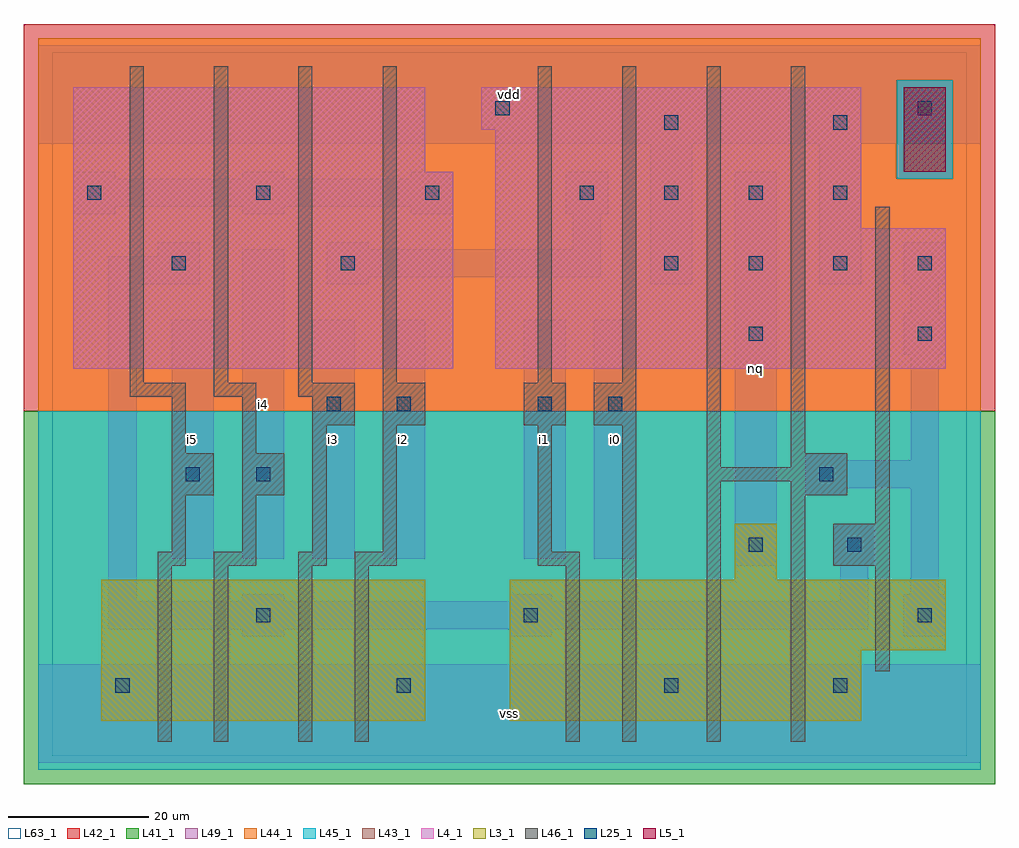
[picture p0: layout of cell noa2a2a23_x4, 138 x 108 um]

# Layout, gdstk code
import gdstk
lib = gdstk.Library(unit=1e-6, precision=1e-09)
def R(c, l, rs):  # rectangles x0, y0, x1, y1
    for r in rs: c.add(gdstk.rectangle(r[:2], r[2:], *l))
def A(c, l, x, y, w, h, nx, ny, dx, dy):  # array of equal rectangles
    R(c, l, [(x+i*dx, y+j*dy, x+i*dx+w, y+j*dy+h) for i in range(nx) for j in range(ny)])
L3_1 = (3, 1)
L4_1 = (4, 1)
L5_1 = (5, 1)
L25_1 = (25, 1)
L41_1 = (41, 1)
L42_1 = (42, 1)
L43_1 = (43, 1)
L44_1 = (44, 1)
L45_1 = (45, 1)
L46_1 = (46, 1)
L49_1 = (49, 1)
L63_1 = (63, 1)

noa2a2a23_x4 = lib.new_cell('noa2a2a23_x4')
R(noa2a2a23_x4, L3_1, [(7,5,53,25), (65,5,115,15), (65,15,127,25), (97,25,103,33)])
R(noa2a2a23_x4, L4_1, [(3,55,57,83), (63,55,127,75), (63,75,115,89), (3,83,53,95), (61,89,115,95)])
R(noa2a2a23_x4, L5_1, [(121,83,127,95)])
A(noa2a2a23_x4, L25_1, 87, 69, 2, 2, 4, 1, 12, 0)
A(noa2a2a23_x4, L25_1, 5, 79, 2, 2, 3, 1, 24, 0)
A(noa2a2a23_x4, L25_1, 75, 79, 2, 2, 4, 1, 12, 0)
R(noa2a2a23_x4, L25_1, [(9,9,11,11), (49,9,51,11), (87,9,89,11), (111,9,113,11), (29,19,31,21), (67,19,69,21), (123,19,125,21), (99,29,101,31), (113,29,115,31), (19,39,21,41), (29,39,31,41), (109,39,111,41), (39,49,41,51), (49,49,51,51), (69,49,71,51), (79,49,81,51), (99,59,101,61), (123,59,125,61), (17,69,19,71), (41,69,43,71), (87,89,89,91), (111,89,113,91), (63,91,65,93), (123,91,125,93)])
R(noa2a2a23_x4, L41_1, [(-4,-4,134,49)])
R(noa2a2a23_x4, L42_1, [(-4,49,134,104)])
R(noa2a2a23_x4, L43_1, [(7,5,53,25), (65,5,115,15), (65,15,127,25), (97,25,103,33), (3,55,57,83), (63,55,127,75), (63,75,115,89), (3,83,53,95), (121,83,127,95), (61,89,115,95)])
R(noa2a2a23_x4, L44_1, [(-2,49,132,82), (-2,82,120,96), (128,82,132,96), (-2,96,132,102)])
R(noa2a2a23_x4, L45_1, [(-2,-2,132,49), (120,82,128,96)])
A(noa2a2a23_x4, L46_1, 11, 53, 2, 45, 4, 1, 12, 0)
R(noa2a2a23_x4, L46_1, [(15,2,17,27), (23,2,25,27), (35,2,37,27), (43,2,45,27), (73,2,75,27), (81,2,83,47), (93,2,95,39), (105,2,107,37), (117,12,119,27), (15,27,19,29), (23,27,29,29), (35,27,39,29), (43,27,49,29), (69,27,75,29), (111,27,119,33), (17,29,19,37), (27,29,29,37), (37,29,39,47), (47,29,49,47), (69,29,71,47), (117,33,119,78), (17,37,23,43), (27,37,33,43), (105,37,113,39), (93,39,113,41), (93,41,95,98), (105,41,113,43), (17,43,19,51), (27,43,29,51), (105,43,107,98), (37,47,43,51), (47,47,53,53), (67,47,73,53), (77,47,83,53), (11,51,19,53), (23,51,29,53), (35,51,43,53), (69,53,71,98), (81,53,83,98)])
A(noa2a2a23_x4, L49_1, 3, 77, 6, 1, 3, 2, 24, 5)
R(noa2a2a23_x4, L49_1, [(-2,-1,132,13), (27,17,33,18), (65,17,71,18), (121,17,127,23), (8,18,116,22), (8,22,12,67), (27,22,33,23), (65,22,71,23), (112,22,116,27), (122,23,126,38), (97,27,103,83), (111,27,117,33), (17,28,23,62), (27,28,33,72), (37,28,43,62), (47,28,53,62), (67,28,73,62), (77,28,83,62), (107,37,113,38), (107,38,126,42), (107,42,113,43), (122,42,126,57), (121,57,127,63), (122,63,126,67), (8,67,21,71), (39,67,45,68), (85,67,91,87), (109,67,115,87), (121,67,127,73), (39,68,78,72), (15,71,21,73), (39,72,45,73), (74,72,78,77), (73,77,79,83), (3,78,57,82), (-2,87,132,101)])
R(noa2a2a23_x4, L63_1, [(0,0,130,100)])
noa2a2a23_x4.add(gdstk.Label('i5', (20,45), layer=49, texttype=1))
noa2a2a23_x4.add(gdstk.Label('i5', (20,45), layer=49, texttype=1))
noa2a2a23_x4.add(gdstk.Label('i3', (40,45), layer=49, texttype=1))
noa2a2a23_x4.add(gdstk.Label('i4', (30,50), layer=49, texttype=1))
noa2a2a23_x4.add(gdstk.Label('i4', (30,50), layer=49, texttype=1))
noa2a2a23_x4.add(gdstk.Label('i3', (40,45), layer=49, texttype=1))
noa2a2a23_x4.add(gdstk.Label('vss', (65,6), layer=49, texttype=1))
noa2a2a23_x4.add(gdstk.Label('vss', (65,6), layer=49, texttype=1))
noa2a2a23_x4.add(gdstk.Label('i2', (50,45), layer=49, texttype=1))
noa2a2a23_x4.add(gdstk.Label('i2', (50,45), layer=49, texttype=1))
noa2a2a23_x4.add(gdstk.Label('i1', (70,45), layer=49, texttype=1))
noa2a2a23_x4.add(gdstk.Label('i1', (70,45), layer=49, texttype=1))
noa2a2a23_x4.add(gdstk.Label('vdd', (65,94), layer=49, texttype=1))
noa2a2a23_x4.add(gdstk.Label('vdd', (65,94), layer=49, texttype=1))
noa2a2a23_x4.add(gdstk.Label('i0', (80,45), layer=49, texttype=1))
noa2a2a23_x4.add(gdstk.Label('i0', (80,45), layer=49, texttype=1))
noa2a2a23_x4.add(gdstk.Label('nq', (100,55), layer=49, texttype=1))
noa2a2a23_x4.add(gdstk.Label('nq', (100,55), layer=49, texttype=1))

lib.write_gds('noa2a2a23_x4.gds')
